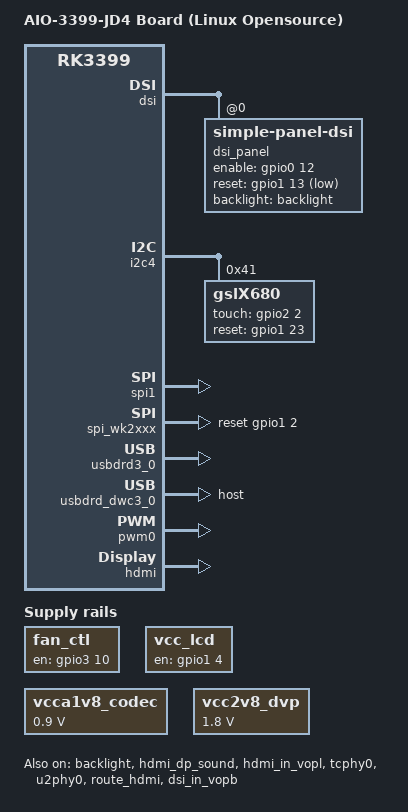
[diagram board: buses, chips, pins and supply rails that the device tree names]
/dts-v1/;

#include "rk3399-firefly-port.dtsi"
#include <dt-bindings/sensor-dev.h>
#include <dt-bindings/display/media-bus-format.h>

/ {
	model = "AIO-3399-JD4 Board (Linux Opensource)";
	compatible = "rockchip,rk3399-firefly", "rockchip,rk3399";

	test-power {
		status = "okay";
	};
	
	rt5640-sound {
		simple-audio-card,cpu {
		        sound-dai = <&i2s1>;
		};
		simple-audio-card,codec {
		        sound-dai = <&rt5640>;
		};
	};

	fan_ctl: fan-ctl-regulator {
		compatible = "regulator-fixed";
        	enable-active-high;
        	regulator-always-on;
		regulator-boot-on;
		gpio = <&gpio3 10 GPIO_ACTIVE_HIGH>;
		pinctrl-names = "default";
		regulator-name = "fan_ctl";
        	pinctrl-0 = <&fan_drv>;
	};

	vcc_lcd: vcc-lcd {
		compatible = "regulator-fixed";
        	enable-active-high;
        	regulator-always-on;
		regulator-boot-on;
		gpio = <&gpio1 4 GPIO_ACTIVE_HIGH>;
		pinctrl-names = "default";
		regulator-name = "vcc_lcd";
        	pinctrl-0 = <&lcd_panel_lcd_en>;
	};

};

&backlight {
        status = "okay";
        pwms = <&pwm0 0 25000 1>; 
        enable-gpios = <&gpio0 1 GPIO_ACTIVE_HIGH>;
        default-brightness-level = <200>;
        polarity = <1>;
        brightness-levels = </*
                          0   1   2   3   4   5   6   7
                          8   9  10  11  12  13  14  15
                         16  17  18  19  20  21  22  23
                         24  25  26  27  28  29  30  31
                         32  33  34  35*/36  37  38  39
                         40  41  42  43  44  45  46  47
                         48  49  50  51  52  53  54  55
                         56  57  58  59  60  61  62  63
                         64  65  66  67  68  69  70  71
                         72  73  74  75  76  77  78  79
                         80  81  82  83  84  85  86  87
                         88  89  90  91  92  93  94  95
                         96  97  98  99 100 101 102 103
                        104 105 106 107 108 109 110 111
                        112 113 114 115 116 117 118 119
                        120 121 122 123 124 125 126 127
                        128 129 130 131 132 133 134 135
                        136 137 138 139 140 141 142 143
                        144 145 146 147 148 149 150 151
                        152 153 154 155 156 157 158 159
                        160 161 162 163 164 165 166 167
                        168 169 170 171 172 173 174 175
                        176 177 178 179 180 181 182 183
                        184 185 186 187 188 189 190 191
                        192 193 194 195 196 197 198 199
                        200 201 202 203 204 205 206 207
                        208 209 210 211 212 213 214 215
                        216 217 218 219 220 221 222 223
                        224 225 226 227 228 229 230 231
                        232 233 234 235 236 237 238 239
                        240 241 242 243 244 245 246 247
                        248 249 250 251 252 253 254 255>; 
};

&dsi {
	status = "okay";
	dsi_panel: panel {
		compatible ="simple-panel-dsi";
		reg = <0>;
		backlight = <&backlight>;
		enable-gpios = <&gpio0 12 GPIO_ACTIVE_HIGH>;
		reset-gpios = <&gpio1 13 GPIO_ACTIVE_LOW>;
                pinctrl-0 = <&lcd_panel_pwr_en &lcd_panel_reset >;
		dsi,flags = <(MIPI_DSI_MODE_VIDEO | MIPI_DSI_MODE_VIDEO_BURST | MIPI_DSI_MODE_LPM | MIPI_DSI_MODE_EOT_PACKET)>;
		dsi,format = <MIPI_DSI_FMT_RGB888>;
		bus-format = <MEDIA_BUS_FMT_RGB666_1X18>;
		dsi,lvds-force-clk = <800>; // 800/2/3 ~= 65Mhz
		dsi,lanes = <4>;
		dsi,channel = <0>;
		enable-delay-ms = <35>;
		prepare-delay-ms = <6>;
		unprepare-delay-ms = <0>;
		disable-delay-ms = <20>;
		size,width = <120>;
		size,height = <170>;
		status = "okay";

		panel-init-sequence = [
			29 02 06 3C 01 09 00 07 00
			29 02 06 14 01 06 00 00 00
			29 02 06 64 01 0B 00 00 00
			29 02 06 68 01 0B 00 00 00
			29 02 06 6C 01 0B 00 00 00
			29 02 06 70 01 0B 00 00 00
			29 02 06 34 01 1F 00 00 00
			29 02 06 10 02 1F 00 00 00
			29 02 06 04 01 01 00 00 00
			29 02 06 04 02 01 00 00 00
			29 02 06 50 04 20 01 F0 03
			29 02 06 54 04 19 00 5A 00
			29 02 06 58 04 20 03 24 00
			29 02 06 5C 04 0A 00 19 00
			29 02 06 60 04 00 05 0A 00
			29 02 06 64 04 01 00 00 00
			29 02 06 A0 04 06 80 44 00

			29 02 06 A0 04 06 80 04 00
			29 02 06 04 05 04 00 00 00
			29 02 06 80 04 00 01 02 03
			29 02 06 84 04 04 07 05 08
			29 02 06 88 04 09 0A 0E 0F
			29 02 06 8C 04 0B 0C 0D 10
			29 02 06 90 04 16 17 11 12
			29 02 06 94 04 13 14 15 1B
			29 02 06 98 04 18 19 1A 06
			/*
			29 02 06 80 04 1A 1A 1A 1A
			29 02 06 84 04 1A 19 1A 1A
			29 02 06 88 04 18 18 19 19
			29 02 06 8C 04 18 18 18 18
			29 02 06 90 04 19 19 18 12
			29 02 06 94 04 13 14 15 19
			29 02 06 98 04 18 19 1A 19
			*/
			29 02 06 9C 04 31 04 00 00
		];

		panel-exit-sequence = [
			05 05 01 28
			05 78 01 10
		];

		disp_timings: display-timings {
			native-mode = <&timing0>;
			timing0: timing0 {
				clock-frequency = <166000000>;
				hactive = <800>;
				vactive = <1280>;
				hsync-len = <10>;
				hback-porch = <100>;
				hfront-porch = <1580>;
				vsync-len = <10>;
				vback-porch = <25>;
				vfront-porch = <10>;
				hsync-active = <0>;
				vsync-active = <0>;
				de-active = <0>;
				pixelclk-active = <0>;
			};
		};
	};
};

&i2c4 {
	status = "okay";
	gslx680: gslx680@41 {
		compatible = "gslX680";
		reg = <0x41>;
		screen_max_x = <800>;
		screen_max_y = <1280>;
		touch-gpio = <&gpio2 2 IRQ_TYPE_LEVEL_LOW>;
		reset-gpio = <&gpio1 23 GPIO_ACTIVE_HIGH>;
		flip-x = <1>;
		flip-y = <0>;
		swap-xy = <0>;
		gsl,fw = <1>;
	};

	sensor@4c {
		status = "disabled";
		compatible = "gs_mc3230";
		reg = <0x4c>;
		type = <SENSOR_TYPE_ACCEL>;
		irq_enable = <0>;
		poll_delay_ms = <30>;
		layout = <1>;
	};
};

&gmac {
	tx_delay = <0x2F>;
	rx_delay = <0x1E>;
};

&vcc_sd {
	gpio = <&gpio1 22 GPIO_ACTIVE_HIGH>;
};

&hdmi_dp_sound {
	status = "okay";
};

&i2c2 {
	status = "disabled";
	i2c-scl-rising-time-ns = <300>;
	i2c-scl-falling-time-ns = <15>;
};

&rt5640 {
    hp-det-adc-value = <900>;
    aux-det-adc-value = <900>;
    hp-con-gpio = <&gpio3 16 GPIO_ACTIVE_HIGH>;
    io-channels = <&saradc 3>,<&saradc 2>;
    io-channel-names = "hp-det","aux-det";
};

&rt5640_hpcon{
    rockchip,pins = <3 16 RK_FUNC_GPIO &pcfg_pull_none>;
};

&vcca1v8_codec {
	regulator-min-microvolt = <900000>;
	regulator-max-microvolt = <900000>;
};

&uart4 {
    status = "disabled";
};

&spi1 {
	dev-port = <0>;
    	status = "okay";
};

&spi_wk2xxx {
    status = "okay";
	reset-gpio = <&gpio1 2 GPIO_ACTIVE_HIGH>;
	irq-gpio = <&gpio2 8 IRQ_TYPE_EDGE_FALLING>;
	cs-gpio = <&gpio1 10 GPIO_ACTIVE_HIGH>;
};

&vcc3v3_3g {
	gpio = <&gpio2 28 GPIO_ACTIVE_HIGH>;
};

&vcc3v3_pcie {
	/delete-property/ gpio;
};

&pcie0 {
	ep-gpios = <&gpio4 30 GPIO_ACTIVE_HIGH>;
};

&dp_in_vopb {
	status = "disabled";
};

&hdmi_in_vopl {
	status = "okay";
};

&wdt {
	status = "disabled";
};

&io_domains {
	bt656-supply = <&vcc_3v0>;
};

&vcc2v8_dvp {
	regulator-min-microvolt = <1800000>;
	regulator-max-microvolt = <1800000>;
};

&vcca1v8_codec {
	regulator-min-microvolt = <900000>;
	regulator-max-microvolt = <900000>;
};

&pinctrl {
	pinctrl-names = "default";
	pinctrl-0 = <&host_hub_vcc>;

	host-hub-vcc {
		host_hub_vcc: host-hub-vcc {
			rockchip,pins =
				<2 4 RK_FUNC_GPIO &pcfg_output_high>,
				<4 29 RK_FUNC_GPIO &pcfg_output_high>;
		};
	};

	pcie {
		pcie_3g_drv: pcie-3g-drv {
			rockchip,pins =
				<2 6 RK_FUNC_GPIO &pcfg_pull_up>;
		};
	};

	vcc_sd {
		vcc_sd_h: vcc-sd-h {
			rockchip,pins =
				<1 22 RK_FUNC_GPIO &pcfg_pull_up>;
		};
	};

	fan-ctl {
        	fan_drv: fan-drv {
             		rockchip,pins = <3 10 RK_FUNC_GPIO &pcfg_pull_none>;
        	};
	};

	lcd-panel {
		lcd_panel_reset: lcd-panel-reset {
			rockchip,pins = <1 13 RK_FUNC_GPIO &pcfg_pull_down>;
		};

		lcd_panel_pwr_en: lcd-panel-pwr-en {
			rockchip,pins = <0 12 RK_FUNC_GPIO &pcfg_pull_down>;
		};

		lcd_panel_lcd_en:lcd_panel_lcd_en {
			rockchip,pins = <1 4 RK_FUNC_GPIO &pcfg_pull_down>;
		};

		lcd_panel_bl_en:lcd_panel_bl_en {
			rockchip,pins = <0 1 RK_FUNC_GPIO &pcfg_pull_down>;
		};
	};
};

&fusb0 {
    status = "disabled";
};

&cdn_dp {
    status = "disabled";
};

&tcphy0 {
    /delete-property/ extcon;
    status = "okay";
};

&u2phy0 {
    status = "okay";
    /delete-property/ extcon;

    u2phy0_otg: otg-port {
        rockchip,vbus-always-on;
        vbus-5v-gpios = <&gpio1 3 GPIO_ACTIVE_HIGH>;
        status = "okay";
    };
};

&usbdrd3_0 {
    status = "okay";
    /delete-property/ extcon;
};

&usbdrd_dwc3_0 {
    dr_mode = "host";
};

&route_hdmi {
	status = "okay";
};

&rk808 {
     /delete-property/ pmic,stby-gpio;
     /delete-property/ pmic,hold-gpio;
};


&pwm0 {
        status = "okay";
};

&dsi_in_vopl {
        status = "disabled";
};

&dsi_in_vopb {
        status = "okay";
};

&hdmi {
        status = "okay";
};

&hdmi_in_vopb {
        status = "disabled";
};


